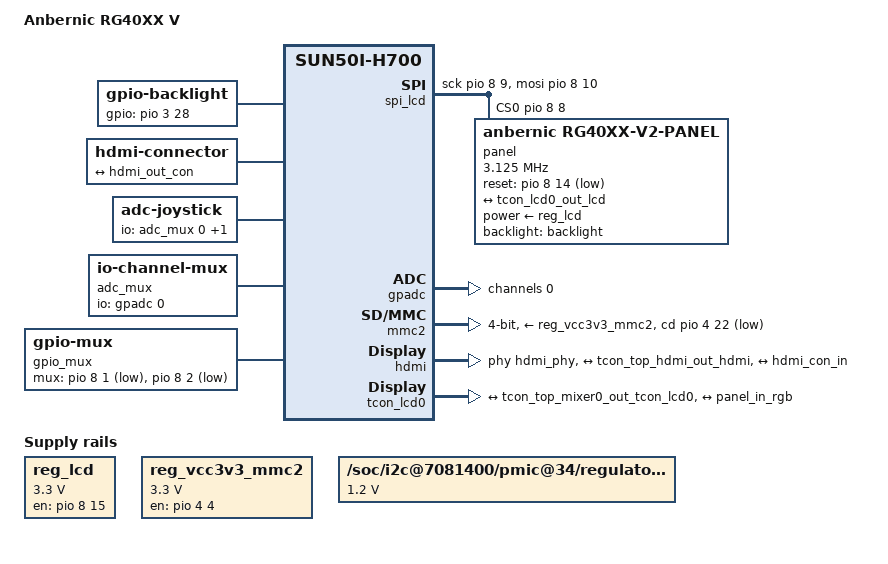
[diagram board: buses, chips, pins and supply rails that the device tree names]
// SPDX-License-Identifier: (GPL-2.0-only OR BSD-2-Clause)
// SPDX-FileCopyrightText: Philippe Simons <lhy31@gmail.com>
// SPDX-FileCopyrightText: Ryan Walklin <ryan@testtoast.com>
// SPDX-FileCopyrightText: Chris Morgan <macromorgan@hotmail.com>
// SPDX-FileCopyrightText: 2026 Karl Eklund
/*
 * Device tree for the Anbernic RG40XX V (Allwinner H700).
 *
 * Derived from the ROCKNIX/Batocera sun50i-h700-anbernic-rg40xx-v.dts by
 * Philippe Simons, itself extending mainline rg35xx-plus.dts by Ryan Walklin
 * and Chris Morgan. Dual-licensed as upstream, so this header is authoritative
 * and REUSE.toml does not annotate this file.
 *
 * The RG40XX V is the same PCB family as the RG35XX Plus, so nearly
 * everything is inherited: the AXP717 PMIC and its regulator tree,
 * battery and USB power supplies, mmc0, the gamepad and volume buttons
 * as gpio-keys, LEDs, the audio codec, USB, and the RTL8821CS SDIO
 * WiFi + UART Bluetooth that rg35xx-plus.dts adds on top of
 * rg35xx-2024.dts.
 *
 * NOTE ON THE INCLUDE PATH: this file is built via Buildroot's
 * BR2_LINUX_KERNEL_CUSTOM_DTS_PATH, which copies it into
 * arch/arm64/boot/dts/ (flat) rather than into the allwinner/
 * subdirectory. Hence the "allwinner/" prefix below. cpp resolves
 * nested includes relative to the including file's own directory, so
 * rg35xx-plus.dts still finds sun50i-h616.dtsi normally. Building this
 * as a genuine in-tree file would drop the prefix.
 *
 * DISPLAY. Everything from the display engine down to the panel is
 * described here rather than as a patch against sun50i-h616.dtsi, even
 * though the H616 nodes are SoC-level and upstream would put them
 * there. Two reasons: a rejected hunk on a kernel bump is a much worse
 * failure than a merge conflict in a file we own, and keeping it here
 * means tools/check-dts.sh sees the whole pipeline as source.
 *
 * There are two output paths, and they share one display engine:
 *
 *     mixer0 -> tcon_top -> tcon_lcd0 -> panel  (RGB888 + SPI init)
 *                        \-> tcon_tv0 -> hdmi -> mini-HDMI connector
 *
 * There is no mixer1. That is not an omission, it is what 6.18.44
 * allows: DE33's plane registers are a single block at 0x100000 shared
 * by both mixers, upstream's mixer binding claims that block as the
 * mixer's own reg index 0 with devm_platform_ioremap_resource(), and a
 * second mixer node asking for the same window fails with -EBUSY. The
 * split that makes two mixers possible -- a separate planes driver both
 * mixers point at -- is exactly the refactor still in review on
 * dri-devel, and taking it would mean reverting the DE33 plane code
 * 6.18.44 already has. See docs/display.md.
 *
 * The consequence is a hard one and worth stating in the device tree
 * rather than only in prose: THE PANEL AND HDMI CANNOT BE ON AT THE
 * SAME TIME. Both CRTCs resolve to mixer0, TCON_TOP_PORT_SEL routes
 * that mixer to one TCON at a time, and lighting both is not mirroring
 * -- it is two CRTCs writing one set of channel registers.
 *
 * The drivers this needs are in patches/linux/0100..0105. 6.18.44
 * already has the DE33 mixer and its clocks, so the mixer node follows
 * upstream's binding -- reg-names "layers", "top", "display" -- and not
 * ROCKNIX's, which splits the layer registers into a separate planes@
 * node for a driver we deliberately do not carry. See 0100's header.
 */

#include "allwinner/sun50i-h700-anbernic-rg35xx-plus.dts"

#include <dt-bindings/clock/sun8i-de2.h>
#include <dt-bindings/clock/sun8i-tcon-top.h>
#include <dt-bindings/gpio/gpio.h>
#include <dt-bindings/interrupt-controller/arm-gic.h>
#include <dt-bindings/leds/common.h>
#include <dt-bindings/reset/sun8i-de2.h>

/ {
	model = "Anbernic RG40XX V";

	/*
	 * Downstream trees (ROCKNIX, Batocera) spell this "anbernic,rg40xx-V"
	 * with a capital V. Lowercase here to match kernel conventions;
	 * nothing in a Nerves image matches on the string.
	 */
	compatible = "anbernic,rg40xx-v", "allwinner,sun50i-h700";

	/*
	 * Backlight enable on PD28, as a plain GPIO rather than PWM.
	 *
	 * PD28 is the right pin, confirmed from two independent directions:
	 * muOS's vendor DT for this exact device sets lcd_pwm_ch = 0 and
	 * muxes pwm0 onto PD28, and 6.18.44's pinctrl-sun50i-h616.c makes
	 * PD28 the only pin in the SoC carrying a pwm0 function. ROCKNIX
	 * uses PD28 too. (The PI13 and PH2 pins that the panel spec notes
	 * as differing between muOS DTBs are pwm3 and pwm2 -- they are not
	 * the backlight.)
	 *
	 * The backlight is really PWM-driven -- muOS at 50 kHz, ROCKNIX at
	 * 25 kHz -- but the H616 PWM controller has no mainline driver, and
	 * carrying the out-of-tree one costs about 1900 lines of patch for
	 * brightness control alone. Holding PD28 high is full brightness
	 * and needs nothing out of tree. Swap this for pwm-backlight when
	 * brightness control is worth that patch.
	 *
	 * Active high: ROCKNIX drives this GPIO_ACTIVE_HIGH in its
	 * gpio-backlight form and passes flag 0 -- normal polarity -- in
	 * its pwm-backlight form. muOS's lcd_pwm_pol = 1 is vendor
	 * encoding and does not obviously contradict that, but it is not
	 * proof either. If the panel turns out to light up dark, this is
	 * one line: make it GPIO_ACTIVE_LOW.
	 *
	 * default-on matters: nothing in a Nerves image would otherwise
	 * turn the backlight on, and an unlit panel is indistinguishable
	 * from a broken pipeline.
	 */
	backlight: backlight {
		compatible = "gpio-backlight";
		gpios = <&pio 3 28 GPIO_ACTIVE_HIGH>; /* PD28 */
		default-on;
	};

	/*
	 * The mini-HDMI socket on the top edge.
	 *
	 * type is informational -- nothing in the driver path reads it -- and
	 * the sources disagree: ROCKNIX spells this family "d" (micro) while
	 * Anbernic's own listing for the RG40XX V says mini, which is "c".
	 * The socket on this shell is the mini one, so "c".
	 *
	 * No hpd-gpios and no ddc-i2c-bus: hotplug detect and the DDC lines
	 * are inside the HDMI controller on this SoC, not brought out to
	 * GPIOs, so dw-hdmi reads both itself.
	 */
	connector {
		compatible = "hdmi-connector";
		type = "c";

		port {
			hdmi_con_in: endpoint {
				remote-endpoint = <&hdmi_out_con>;
			};
		};
	};

	de: display-engine {
		compatible = "allwinner,sun50i-h616-display-engine";
		allwinner,pipelines = <&mixer0>;
	};

	/* Panel 3V3. Not a PMIC rail -- a load switch on PI15. */
	reg_lcd: regulator-lcd {
		compatible = "regulator-fixed";
		regulator-name = "vdd-lcd";
		regulator-min-microvolt = <3300000>;
		regulator-max-microvolt = <3300000>;
		gpio = <&pio 8 15 GPIO_ACTIVE_HIGH>; /* PI15 */
		enable-active-high;
	};

	/*
	 * The panel's command channel: three-wire SPI, bit-banged on GPIO.
	 * There is no hardware SPI controller wired to the panel, so this
	 * needs CONFIG_SPI_GPIO.
	 */
	spi_lcd: spi {
		compatible = "spi-gpio";
		#address-cells = <1>;
		#size-cells = <0>;

		sck-gpios = <&pio 8 9 GPIO_ACTIVE_HIGH>;  /* PI9 */
		mosi-gpios = <&pio 8 10 GPIO_ACTIVE_HIGH>; /* PI10 */
		cs-gpios = <&pio 8 8 GPIO_ACTIVE_HIGH>;   /* PI8 */
		num-chipselects = <1>;

		/*
		 * The first compatible string is not decoration: the driver
		 * builds a firmware filename from it and loads
		 * /lib/firmware/panels/anbernic,rg40xx-panel.panel, which is
		 * where this panel's timings AND its init sequence live.
		 * There is no panel-timing node anywhere by design.
		 *
		 * The variant, and how it was narrowed down on hardware.
		 *
		 * v1 was tried first, because muOS's vendor DT names this
		 * panel fog_fj035fhd05_v1. It gave a **blank screen with the
		 * backlight on** -- and the pipeline was demonstrably fine
		 * underneath: the connector read connected at 640x480, the
		 * blob loaded, all three components bound, and the clock tree
		 * showed tcon-data-clock running at 27 MHz. So the panel was
		 * being fed pixels and simply not displaying them, which means
		 * its controller never took the init sequence.
		 *
		 * That plus the owner's own experience -- ROCKNIX, whose
		 * rg40xx-v default is the v1 panel, showed nothing on this
		 * unit either, while muOS works -- says the vendor's "_v1" and
		 * ROCKNIX's "-v2-panel" do not refer to the same revision
		 * split. So this is v2.
		 *
		 * If this is ever wrong, the tell is unchanged: both variants
		 * report 640x480 @ 60 Hz with identical blanking, so a correct
		 * mode confirms nothing. They differ in init sequence and sync
		 * polarity. Blank or scrambled at a correct mode means the
		 * other variant; both blobs ship, and it is this one string.
		 *
		 * A note on reading the log: the v1 blob adds a second mode,
		 * 640x480 @ 120 Hz, and the v2 blob does not. Two modelines in
		 * dmesg therefore tells you which *file* was loaded -- not
		 * which panel is soldered on.
		 *
		 * What muOS independently confirms is the wiring, not the
		 * variant: its lcd_gpio_0..4 are PI9, PI10, PI8, PI14, PI15,
		 * which is exactly the SPI clock, MOSI, chip select, reset and
		 * panel supply used above.
		 *
		 * Where muOS and ROCKNIX genuinely disagree is the timings,
		 * and muOS's are the ones known to drive this hardware:
		 *
		 *   muOS (vendor)   24 MHz, total 768 x 521, hbp 46 hspw 20,
		 *                   vbp 15 vspw 4      -> 59.98 Hz
		 *   ROCKNIX (.panel) 27 MHz, total 750 x 600, hfp 64 hsync 4
		 *                   hbp 42, vfp 100 vsync 4 vbp 16 -> 60.00 Hz
		 *
		 * The blob carries the timings, so preferring muOS's would
		 * mean authoring a .panel file rather than editing the DT.
		 * That is the fallback if ROCKNIX's blob gives a picture that
		 * is present but wrong; the init sequence inside the blob
		 * cannot be got from muOS at all, since it lives in Anbernic's
		 * prebuilt vendor kernel and not in any MustardOS repository.
		 */
		panel: panel@0 {
			compatible = "anbernic,rg40xx-v2-panel", "panel-mipi-dpi-spi";
			reg = <0>;

			spi-max-frequency = <3125000>;
			spi-3wire;

			reset-gpios = <&pio 8 14 GPIO_ACTIVE_LOW>; /* PI14 */

			backlight = <&backlight>;
			power-supply = <&reg_lcd>;

			pinctrl-names = "default";
			pinctrl-0 = <&lcd0_rgb888_pins>;

			port {
				panel_in_rgb: endpoint {
					remote-endpoint = <&tcon_lcd0_out_lcd>;
				};
			};
		};
	};

	/*
	 * 3V3 for the second card slot. Not a PMIC rail: a GPIO-controlled
	 * load switch on PE4, in the same shape as reg_lcd above. Consumed
	 * by &mmc2 below; see that node for where these values come from.
	 */
	reg_vcc3v3_mmc2: regulator-vcc3v3-mmc2 {
		compatible = "regulator-fixed";
		regulator-name = "vcc3v3-mmc2";
		regulator-min-microvolt = <3300000>;
		regulator-max-microvolt = <3300000>;
		gpio = <&pio 4 4 GPIO_ACTIVE_HIGH>; /* PE4 */
		enable-active-high;
	};

	/*
	 * The analog stick.
	 *
	 * This board has one, and rg35xx-plus.dts -- which this file extends
	 * -- describes a board that has none. So the stick was never
	 * described at all, and Linux reported an RG40XX V with fifteen keys
	 * and no ev_abs on any input device. That is the whole of why it did
	 * not work: not a driver failing, an absence.
	 *
	 * WIRING. One ADC with a 4:1 analog multiplexer in front of it. PI1
	 * and PI2 are the select lines, PI0 enables the mux, and the selected
	 * signal arrives at the H700's GPADC on channel 0. Read out of muOS's
	 * vendor device tree for this exact device, which spells it
	 * amux-en-gpios = PI0, A0_gpio = PI1, A1_gpio = PI2 against a gpadc at
	 * 0x5070000 -- and pin for pin what mainline's rg35xx-h.dts describes
	 * for the two-stick sibling of this board.
	 *
	 * All four mux positions are declared even though one stick occupies
	 * two of them. Two select lines make four positions whether or not
	 * anything is soldered to them, and declaring them all puts every one
	 * in sysfs, which is what makes the next paragraph checkable rather
	 * than merely asserted.
	 *
	 * WHAT IS INFERRED. Which two positions the stick sits on, and which
	 * way round each axis runs, are taken from the RG35XX H's left stick:
	 * positions 0 and 1, with X inverted. Shared mux wiring makes that the
	 * obvious guess and does not make it a measurement. To settle it on
	 * hardware, move the stick while reading
	 *
	 *     /sys/bus/iio/devices/iio:device0/in_voltage[0-3]_raw
	 *
	 * The two that move are the stick; which way each one travels gives
	 * the polarity, and the extremes give the real range in place of the
	 * nominal 0..4096 below.
	 *
	 * THE CLICK is described, in a separate node further down: the stick on
	 * this board is a button as well as an axis pair. The sibling board
	 * puts BTN_THUMBL on PE8 and muOS's vendor tree calls that same pin
	 * "Key L3", and pressing it here confirms the line is real. See the
	 * gpio_keys_gamepad override below for why only the left one is
	 * described.
	 */
	adc-joystick {
		compatible = "adc-joystick";
		io-channels = <&adc_mux 0>, <&adc_mux 1>;
		pinctrl-0 = <&joy_mux_pin>;
		pinctrl-names = "default";
		poll-interval = <60>;
		#address-cells = <1>;
		#size-cells = <0>;

		axis@0 {
			reg = <0>;
			abs-flat = <32>;
			abs-fuzz = <32>;
			abs-range = <4096 0>;
			linux,code = <ABS_X>;
		};

		axis@1 {
			reg = <1>;
			abs-flat = <32>;
			abs-fuzz = <32>;
			abs-range = <0 4096>;
			linux,code = <ABS_Y>;
		};
	};

	adc_mux: adc-mux {
		compatible = "io-channel-mux";
		channels = "stick_x", "stick_y", "spare_2", "spare_3";
		#io-channel-cells = <1>;
		io-channels = <&gpadc 0>;
		io-channel-names = "parent";
		mux-controls = <&gpio_mux>;
		settle-time-us = <100>;
	};

	gpio_mux: mux-controller {
		compatible = "gpio-mux";
		mux-gpios = <&pio 8 1 GPIO_ACTIVE_LOW>, /* PI1 */
			    <&pio 8 2 GPIO_ACTIVE_LOW>; /* PI2 */
		#mux-control-cells = <0>;
	};
};

/*
 * The stick's click, on PE8.
 *
 * Confirmed by pressing it: the stick on this board is a button as well as
 * an axis pair. The pin is the one mainline's rg35xx-h.dts gives BTN_THUMBL
 * on the two-stick sibling, and the one muOS's vendor tree for this device
 * labels "Key L3".
 *
 * Only the left one. That board describes a BTN_THUMBR on PE9 as well, and
 * this shell has no second stick to click -- a gpio-keys entry for a switch
 * that is not fitted is an input that chatters rather than one that stays
 * quiet.
 */
&gpio_keys_gamepad {
	button-thumbl {
		label = "GPIO Thumb Left";
		gpios = <&pio 4 8 GPIO_ACTIVE_LOW>; /* PE8 */
		linux,input-type = <EV_KEY>;
		linux,code = <BTN_THUMBL>;
	};
};

/*
 * The ADC the multiplexer feeds into. Disabled in sun50i-h616.dtsi, the way
 * SoC-level nodes are, and enabled here with the one channel this board
 * physically brings out.
 */
&gpadc {
	#address-cells = <1>;
	#size-cells = <0>;
	status = "okay";

	channel@0 {
		reg = <0>;
	};
};

/*
 * The RGB indicator LED. Referenced by path rather than by label
 * because mainline's rg35xx-2024.dts declares its gpio-leds node
 * without one, and adding a label would mean patching a mainline DTS
 * just to extend it.
 */
&{/leds} {
	led-rgb {
		function = LED_FUNCTION_INDICATOR;
		color = <LED_COLOR_ID_RGB>;
		gpios = <&pio 8 7 GPIO_ACTIVE_HIGH>; /* PI7 */
	};
};

/*
 * The second card slot -- the one the games card goes in.
 *
 * sun50i-h616.dtsi leaves mmc@4022000 status = "disabled" and no board in
 * the Anbernic H700 family enables it in mainline, so every property below
 * is taken from a source that describes this hardware rather than inferred
 * from the SoC. Two independent sources agree on all of them:
 *
 *   1. ROCKNIX's copy of Chris Morgan's patch "arm64: dts: allwinner: h700:
 *      Add MMC2 for Anbernic RG35XX" (Message-Id
 *      <20241018160617.157083-2-macroalpha82@gmail.com>), which is a diff
 *      against sun50i-h700-anbernic-rg35xx-2024.dts -- the file this DTS
 *      inherits from through rg35xx-plus.dts:
 *      https://github.com/ROCKNIX/distribution/blob/next/projects/ROCKNIX/devices/H700/patches/linux/0126-20241018_macroalpha82_rg35xx_add_additional_hardware_support.patch
 *
 *   2. A decompile of Anbernic's own vendor DTB for the RG40XX H, the
 *      horizontal sibling of this board:
 *      https://gist.github.com/macromorgan/c96590eb5bdad96771f26ef20bf20512
 *      Its sdmmc@04022000 node (device_type = "sdc2") has bus-width = <4>,
 *      cd-gpios on bank 4 pin 0x16, pwr-gpios on bank 4 pin 4, no-sdio and
 *      no-mmc. Bank 4 is PE, so that is PE22 and PE4 -- the same two pins
 *      Chris Morgan's patch uses. The same decompile puts mmc0's cd-gpios
 *      on bank 5 pin 6, which is the PF6 mainline already uses for the boot
 *      slot, so the bank/pin decoding is confirmed against a known-good
 *      value rather than assumed.
 *
 * That the slot is mmc2 at all is from the same decompile: its aliases give
 * sdc2 = "/soc@03000000/sdmmc@04022000" and sdc1 = ".../sdmmc@04021000",
 * and sdc1 carries no-mmc + no-sd -- SDIO only, i.e. the WiFi part.
 *
 * Not overridden, deliberately:
 *
 *   pinctrl. The dtsi's mmc2_pins is PC0, PC1, PC5, PC6, PC8-PC11 and
 *   PC13-PC16. The vendor DTB muxes exactly that set (its sdc2@0 group plus
 *   the single-pin sdc2@2 strobe group), so the default group is right and
 *   complete. Nothing else in this board's device tree touches bank PC --
 *   checked -- and rg35xx-2024.dts already supplies vcc-pc-supply, so the
 *   bank is powered. bus-width = <4> means only D0-D3 carry data; the rest
 *   of the group is muxed but idle, which is what the vendor ships too.
 *
 *   aliases. Chris Morgan's patch also adds mmc0 = &mmc0, mmc1 = &mmc2,
 *   mmc2 = &mmc1, which renumbers the *host* so the games slot is mmc1.
 *   Skipped here for two reasons. Without any mmc alias, mmc_alloc_host()
 *   allocates host indices from an IDA in probe order (drivers/mmc/core/
 *   host.c), and probe order is device tree order -- 0x4020000, 0x4021000,
 *   0x4022000 -- so the hosts already come out 0, 1, 2 with the names they
 *   have here. And the alias would not buy what it looks like it buys:
 *   mmcblkN is a *separate* IDA allocated in card-probe order in
 *   mmc_blk_alloc() (drivers/mmc/core/block.c), not derived from the host
 *   index, so no alias can pin the boot card to mmcblk0. See the note in
 *   rootfs_overlay/boot/extlinux/ about that.
 *
 * This node only makes the block device appear. It is deliberately not
 * partitioned, formatted or mounted by anything in this system -- the card
 * belongs to the user and holds their games. Mounting it is the
 * application's job.
 */
&mmc2 {
	bus-width = <4>;
	cd-gpios = <&pio 4 22 GPIO_ACTIVE_LOW>; /* PE22 */
	disable-wp;
	/*
	 * The slot is 3V3-only -- the vendor DTB sets sunxi-dis-signal-vol-sw
	 * and there is no 1V8 rail switched to it -- so never attempt a
	 * signal voltage switch to UHS.
	 */
	no-1-8-v;
	vmmc-supply = <&reg_vcc3v3_mmc2>;
	vqmmc-supply = <&reg_cldo3>;
	status = "okay";
};

/*
 * The SoC-level display blocks. /soc carries no label in
 * sun50i-h616.dtsi, so this is a path reference, same as /leds above.
 */
&{/soc} {
	/*
	 * Display Engine 3.3. Bound by drivers/bus/sun50i-de2.c through the
	 * a64-de2 fallback compatible -- without that match the children
	 * below are never populated and nothing probes.
	 */
	bus@1000000 {
		compatible = "allwinner,sun50i-h616-de33",
			     "allwinner,sun50i-a64-de2";
		reg = <0x1000000 0x400000>;
		allwinner,sram = <&de3_sram 1>;
		#address-cells = <1>;
		#size-cells = <1>;
		ranges = <0 0x1000000 0x400000>;

		display_clocks: clock@8000 {
			compatible = "allwinner,sun50i-h616-de33-clk";
			reg = <0x8000 0x100>;
			clocks = <&ccu CLK_DE>, <&ccu CLK_BUS_DE>;
			clock-names = "mod", "bus";
			resets = <&ccu RST_BUS_DE>;
			#clock-cells = <1>;
			#reset-cells = <1>;
		};

		/*
		 * Three register windows, named as upstream's binding
		 * requires: "layers" is the per-channel plane registers and
		 * is also reg index 0, which is what the driver ioremaps as
		 * the engine's own regs; "top" is global control; "display"
		 * is blend control. The layer window has to be big enough to
		 * cover channel 3, which sun8i_channel_base() puts at
		 * map[3] * 0x20000 + 0x1000 = 0x101000 for this SoC.
		 */
		mixer0: mixer@100000 {
			compatible = "allwinner,sun50i-h616-de33-mixer-0";
			reg = <0x100000 0x180000>,
			      <0x8100 0x40>,
			      <0x280000 0x20000>;
			reg-names = "layers", "top", "display";
			clocks = <&display_clocks CLK_BUS_MIXER0>,
				 <&display_clocks CLK_MIXER0>;
			clock-names = "bus", "mod";
			resets = <&display_clocks RST_MIXER0>;

			ports {
				#address-cells = <1>;
				#size-cells = <0>;

				mixer0_out: port@1 {
					reg = <1>;

					mixer0_out_tcon_top_mixer0: endpoint {
						remote-endpoint = <&tcon_top_mixer0_in_mixer0>;
					};
				};
			};
		};
	};

	/*
	 * The HDMI controller: a Synopsys DesignWare transmitter with an
	 * Allwinner wrapper. The first compatible is what identifies the
	 * SoC; the second is what actually matches, because sun8i_dw_hdmi.c
	 * in 6.18.44 has H6 quirks and no H616 entry, and the H6 quirks are
	 * the correct ones (mode_valid rejecting nothing below 594 MHz,
	 * use_drm_infoframe). Only the PHY needed new code -- see
	 * patches/linux/0105.
	 *
	 * #sound-dai-cells is here because the binding wants it, not because
	 * audio works. HDMI audio on this SoC goes through the AHUB, whose
	 * driver is not in mainline at all; ROCKNIX ships one and keeps it
	 * disabled. See docs/display.md.
	 *
	 * No hvcc-supply. Every H616 board in Jernej's series names a 1V8
	 * rail here, but on this PCB the AXP717's aldo1/2/3 are all marked
	 * unused in rg35xx-2024.dts, and ROCKNIX ships its hvcc-supply
	 * commented out and gets a picture anyway -- so the rail is on by
	 * PMIC default. devm_regulator_get() falls back to a dummy regulator
	 * when the supply is absent, so the driver probes either way. If the
	 * port stays dark with everything else correct, aldo1 is the first
	 * thing to try: it is the rail ROCKNIX guessed at.
	 */
	hdmi: hdmi@6000000 {
		compatible = "allwinner,sun50i-h616-dw-hdmi",
			     "allwinner,sun50i-h6-dw-hdmi";
		reg = <0x06000000 0x10000>;
		reg-io-width = <1>;
		interrupts = <GIC_SPI 63 IRQ_TYPE_LEVEL_HIGH>;
		clocks = <&ccu CLK_BUS_HDMI>, <&ccu CLK_HDMI_SLOW>,
			 <&ccu CLK_HDMI>, <&ccu CLK_HDMI_CEC>,
			 <&ccu CLK_HDCP>, <&ccu CLK_BUS_HDCP>;
		clock-names = "iahb", "isfr", "tmds", "cec", "hdcp",
			      "hdcp-bus";
		resets = <&ccu RST_BUS_HDMI>, <&ccu RST_BUS_HDCP>;
		reset-names = "ctrl", "hdcp";
		phys = <&hdmi_phy>;
		phy-names = "phy";
		#sound-dai-cells = <0>;

		ports {
			#address-cells = <1>;
			#size-cells = <0>;

			hdmi_in: port@0 {
				reg = <0>;

				hdmi_in_tcon_top: endpoint {
					remote-endpoint = <&tcon_top_hdmi_out_hdmi>;
				};
			};

			hdmi_out: port@1 {
				reg = <1>;

				hdmi_out_con: endpoint {
					remote-endpoint = <&hdmi_con_in>;
				};
			};
		};
	};

	/*
	 * The HDMI PHY. Its compatible is the one thing in this pipeline
	 * that 6.18.44 cannot match at all, which is what
	 * patches/linux/0105 adds. Without that patch this node does not
	 * bind, and because sun4i-drm is a component master that takes down
	 * the whole display -- the panel included.
	 */
	hdmi_phy: hdmi-phy@6010000 {
		compatible = "allwinner,sun50i-h616-hdmi-phy";
		reg = <0x06010000 0x10000>;
		clocks = <&ccu CLK_BUS_HDMI>, <&ccu CLK_HDMI_SLOW>;
		clock-names = "bus", "mod";
		resets = <&ccu RST_BUS_HDMI_SUB>;
		reset-names = "phy";
		#phy-cells = <0>;
	};

	tcon_top: tcon-top@6510000 {
		compatible = "allwinner,sun50i-h616-tcon-top",
			     "allwinner,sun50i-h6-tcon-top";
		reg = <0x06510000 0x1000>;
		clocks = <&ccu CLK_BUS_TCON_TOP>,
			 <&ccu CLK_TCON_TV0>;
		clock-names = "bus", "tcon-tv0";
		clock-output-names = "tcon-top-tv0";
		resets = <&ccu RST_BUS_TCON_TOP>;
		#clock-cells = <1>;

		ports {
			#address-cells = <1>;
			#size-cells = <0>;

			/*
			 * The input endpoint can stay unnumbered, because the
			 * only thing that reads it is sun8i_mixer_of_get_id(),
			 * which goes through of_graph_parse_endpoint() and so
			 * defaults a missing reg to 0.
			 *
			 * The OUTPUT endpoint must carry an explicit reg, and
			 * it is the TCON index rather than a port number. The
			 * two are read by different code:
			 * sun4i_tcon_of_get_id_from_port() calls
			 * of_property_read_u32(remote, "reg") directly, with no
			 * default. Omitting it made that return -EINVAL, and
			 * nothing checks the sign -- sun8i_tcon_top_de_config()
			 * only rejects tcon > 3, so -22 reached
			 * FIELD_PREP(TCON_TOP_PORT_DE0_MSK, ...) and its two-bit
			 * mask turned it into 2. TCON_TOP_PORT_SEL then routed
			 * mixer0 to TCON2 while the panel hangs off TCON0, and
			 * the panel showed a constant colour while the display
			 * engine never completed a frame. Confirmed on hardware:
			 * PORT_SEL read 0x22 against a working muOS's 0x20, and
			 * correcting it live made the screen show the console.
			 *
			 * So reg = <0> here means TCON0 = tcon_lcd0. This is
			 * what ROCKNIX encodes with its endpoint@0/endpoint@2
			 * numbering.
			 */
			tcon_top_mixer0_in: port@0 {
				reg = <0>;

				tcon_top_mixer0_in_mixer0: endpoint {
					remote-endpoint = <&mixer0_out_tcon_top_mixer0>;
				};
			};

			/*
			 * Two endpoints, and the reg on each is the TCON index
			 * -- 0 is tcon_lcd0, 2 is tcon_tv0. Same numbering as
			 * ROCKNIX. Both are described, but only one can be
			 * carrying pixels: TCON_TOP_PORT_SEL's DE0 field names
			 * a single TCON and sun8i_tcon_top_de_config() rewrites
			 * it whenever a TCON is enabled.
			 */
			tcon_top_mixer0_out: port@1 {
				reg = <1>;
				#address-cells = <1>;
				#size-cells = <0>;

				tcon_top_mixer0_out_tcon_lcd0: endpoint@0 {
					reg = <0>;
					remote-endpoint = <&tcon_lcd0_in_tcon_top_mixer0>;
				};

				tcon_top_mixer0_out_tcon_tv0: endpoint@2 {
					reg = <2>;
					remote-endpoint = <&tcon_tv0_in_tcon_top_mixer0>;
				};
			};

			/*
			 * TCON TOP's own HDMI pair. Port 4 takes TCON TV0's
			 * output back in and port 5 hands it to the HDMI
			 * controller; the block sits in the middle of that path
			 * on H6-family SoCs rather than the TCON driving the
			 * transmitter directly.
			 */
			tcon_top_hdmi_in: port@4 {
				reg = <4>;

				tcon_top_hdmi_in_tcon_tv0: endpoint {
					remote-endpoint = <&tcon_tv0_out_tcon_top>;
				};
			};

			tcon_top_hdmi_out: port@5 {
				reg = <5>;

				tcon_top_hdmi_out_hdmi: endpoint {
					remote-endpoint = <&hdmi_in_tcon_top>;
				};
			};
		};
	};

	tcon_lcd0: lcd-controller@6511000 {
		compatible = "allwinner,sun50i-h616-tcon-lcd",
			     "allwinner,sun8i-r40-tcon-lcd";
		reg = <0x06511000 0x1000>;
		interrupts = <GIC_SPI 64 IRQ_TYPE_LEVEL_HIGH>;
		clocks = <&ccu CLK_BUS_TCON_LCD0>, <&ccu CLK_TCON_LCD0>;
		clock-names = "ahb", "tcon-ch0";
		clock-output-names = "tcon-data-clock";
		#clock-cells = <0>;
		resets = <&ccu RST_BUS_TCON_LCD0>, <&ccu RST_BUS_LVDS>;
		reset-names = "lcd", "lvds";

		ports {
			#address-cells = <1>;
			#size-cells = <0>;

			/*
			 * These two can stay unnumbered: nothing reads their
			 * reg. It is the endpoint on the far side, in
			 * tcon_top's output port, that encodes the TCON index
			 * -- see the note there before removing any reg.
			 */
			tcon_lcd0_in: port@0 {
				reg = <0>;

				tcon_lcd0_in_tcon_top_mixer0: endpoint {
					remote-endpoint = <&tcon_top_mixer0_out_tcon_lcd0>;
				};
			};

			tcon_lcd0_out: port@1 {
				reg = <1>;

				tcon_lcd0_out_lcd: endpoint {
					remote-endpoint = <&panel_in_rgb>;
				};
			};
		};
	};

	/*
	 * TCON TV0 -- the timing controller HDMI scans out of. TCON2 in
	 * TCON_TOP_PORT_SEL's numbering, which is what the reg = <2> on
	 * tcon_top's output endpoint above encodes.
	 *
	 * Its compatible has no fallback on purpose: "allwinner,sun8i-r40-
	 * tcon-tv" would match a quirk set without hdmi_pad, and H616 needs
	 * SUN4I_TCON_GCTL_PAD_SEL set for the TCON's output to reach the
	 * HDMI transmitter at all. patches/linux/0100 adds the H616 quirks
	 * that do set it; without that patch this node simply does not bind.
	 *
	 * "tcon-ch1" comes from tcon_top rather than the CCU: TCON TOP owns
	 * the TV0 clock gate and re-exports it, which is why tcon_top
	 * carries #clock-cells and clock-output-names.
	 */
	tcon_tv0: lcd-controller@6515000 {
		compatible = "allwinner,sun50i-h616-tcon-tv";
		reg = <0x06515000 0x1000>;
		interrupts = <GIC_SPI 66 IRQ_TYPE_LEVEL_HIGH>;
		clocks = <&ccu CLK_BUS_TCON_TV0>,
			 <&tcon_top CLK_TCON_TOP_TV0>;
		clock-names = "ahb", "tcon-ch1";
		resets = <&ccu RST_BUS_TCON_TV0>;
		reset-names = "lcd";

		ports {
			#address-cells = <1>;
			#size-cells = <0>;

			/*
			 * One input endpoint, not two. sun4i_tcon_find_engine()
			 * takes a different path when a TCON's input port has
			 * more than one child: it stops traversing the graph
			 * and matches engine ids against the TCON's index in
			 * the driver's list instead. With one mixer and two
			 * TCONs the second lookup would ask for engine id 1,
			 * find nothing, and fail the whole component master --
			 * which is the panel as well as HDMI. So both TCONs
			 * keep exactly one input endpoint and both resolve to
			 * mixer0 by traversal.
			 */
			tcon_tv0_in: port@0 {
				reg = <0>;

				tcon_tv0_in_tcon_top_mixer0: endpoint {
					remote-endpoint = <&tcon_top_mixer0_out_tcon_tv0>;
				};
			};

			tcon_tv0_out: port@1 {
				reg = <1>;

				tcon_tv0_out_tcon_top: endpoint {
					remote-endpoint = <&tcon_top_hdmi_in_tcon_tv0>;
				};
			};
		};
	};
};

&pio {
	/*
	 * Bank D carries the parallel RGB pins. The other banks already get
	 * their supply in rg35xx-2024.dts; PD was left out because nothing
	 * used it until now, and without it the pinmux below cannot drive
	 * anything.
	 */
	vcc-pd-supply = <&reg_cldo3>;

	lcd0_rgb888_pins: lcd0-rgb888-pins {
		pins = "PD0", "PD1", "PD2", "PD3",
		       "PD4", "PD5", "PD6", "PD7",
		       "PD8", "PD9", "PD10", "PD11",
		       "PD12", "PD13", "PD14", "PD15",
		       "PD16", "PD17", "PD18", "PD19",
		       "PD20", "PD21", "PD22", "PD23",
		       "PD24", "PD25", "PD26", "PD27";
		function = "lcd0";
	};

	/*
	 * The analog multiplexer's enable, driven low by being configured as
	 * an output. Referenced by the adc-joystick node rather than by the
	 * mux, which is where mainline's rg35xx-h.dts puts it too: the mux
	 * consumer is what needs the signal path alive.
	 */
	joy_mux_pin: joy-mux-pin {
		pins = "PI0";
		function = "gpio_out";
	};
};

/*
 * The display engine needs a slice of SRAM C. 6.18.44's sunxi_sram has
 * no H616-specific section descriptor, so the a64 fallback compatible is
 * what actually matches; the H616 string is there for the day it gains
 * one.
 */
&sram_c {
	de3_sram: sram-section@0 {
		compatible = "allwinner,sun50i-h616-sram-c",
			     "allwinner,sun50i-a64-sram-c";
		reg = <0x0000 0x1e000>;
	};
};

/*
 * vdd-dram at LPDDR3's nominal 1.2 V, overriding the 1.1 V inherited from
 * rg35xx-plus.dts.
 *
 * The inherited value is an LPDDR4 rail voltage, and this unit's memory is
 * LPDDR3. 1.2 V is what Anbernic's own firmware runs: booting muOS on this unit
 * reads dcdc3 = 1200000 uV, with dcdc2 = 940000 confirming the rail numbering.
 * See docs/dram-verification.md.
 *
 * This must stay equal to CONFIG_AXP_DCDC3_VOLT in uboot/uboot.defconfig, and
 * tools/check-consistency.sh asserts that. The SPL programs the PMIC before
 * DRAM training, so the defconfig decides what training runs at; this node
 * decides what Linux leaves the rail at. Raising one without the other trains
 * at one voltage and runs at the other, which is worse than either alone --
 * the inherited node pins min == max with regulator-always-on, so the kernel
 * really does force it back.
 *
 * Addressed by path because this label is not in the DTB's symbol table and
 * was never verified; the path came out of the built DTB.
 */
&{/soc/i2c@7081400/pmic@34/regulators/dcdc3} {
	regulator-min-microvolt = <1200000>;
	regulator-max-microvolt = <1200000>;
};
